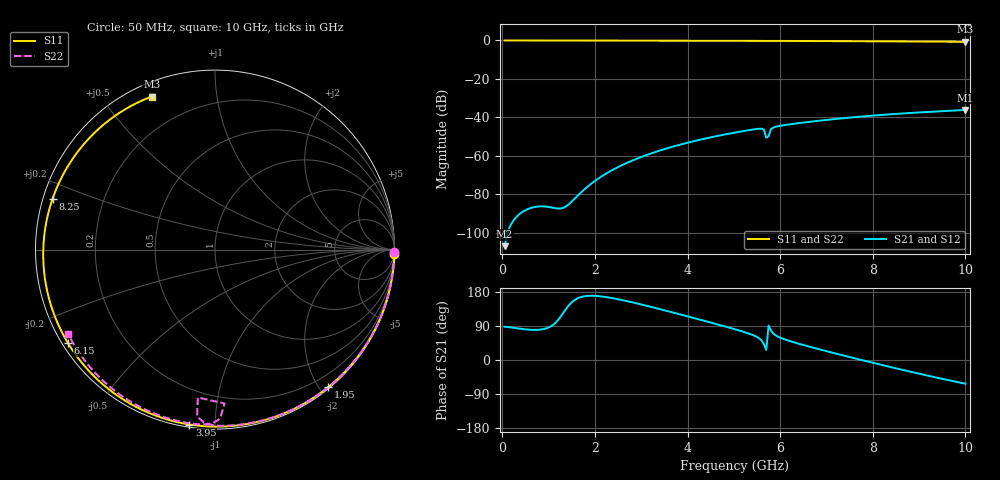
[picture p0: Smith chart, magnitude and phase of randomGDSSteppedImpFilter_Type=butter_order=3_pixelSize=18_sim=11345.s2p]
! freq	dB(S11)	phase(S11)	dB(S12)	phase(S12)
!  dB(S21)	phase(S21)	dB(S22)	phase(S22)
!S-par simulation data
#  GHz  S  DB  R 50
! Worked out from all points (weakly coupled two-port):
!   200 points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, 50 MHz to 10 GHz, reference 50 ohm
!   highest |S21| = -36.17 dB at 10 GHz (marker M1); lowest = -107.1 dB at 50 MHz (marker M2)
!   lowest |S11| = -0.7 dB at 10 GHz (marker M3), VSWR 24.82, Z = 2.91 + j33.4 ohm
!   |S11| at or under -10 dB: nowhere
!   |S22| runs from -1.6 to 0.0 dB; largest |S21 - S12| = 0
!   S11 on the Smith chart (normalised r, x): 50 MHz: 1, -85; 1.95 GHz: 0.02, -2.12; 3.95 GHz: 0.01, -0.86; 6.15 GHz: 0.02, -0.29; 8.25 GHz: 0.03, +0.15; 10 GHz: 0.06, +0.67
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0.05  -0.00 -1.3  -107.08 87.8  -107.08 87.8  -0.00 -0.9
0.8  -0.02 -21.1  -86.40 79.9  -86.40 79.9  -0.02 -13.9
1.65  -0.05 -43.0  -80.28 164.0  -80.28 164.0  -0.04 -28.4
1.75  -0.06 -45.5  -78.00 167.6  -78.00 167.6  -0.04 -30.1
1.95  -0.06 -50.5  -74.01 169.5  -74.01 169.5  -0.04 -33.4
2.6  -0.08 -66.5  -64.74 157.8  -64.74 157.8  -0.06 -44.2
3.4  -0.11 -85.6  -57.32 134.3  -57.32 134.3  -0.08 -57.1
3.95  -0.13 -98.3  -53.54 116.8  -53.54 116.8  -0.09 -65.8
5.05  -0.19 -123.1  -47.84 80.2  -47.84 80.2  -0.13 -82.8
5.6  -0.22 -135.3  -45.95 51.4  -45.95 51.4  -0.32 -93.8
5.65  -0.22 -136.4  -46.44 41.9  -46.44 41.9  -0.58 -96.1
5.7  -0.23 -137.5  -50.68 26.4  -50.68 26.4  -1.63 -96.6
5.75  -0.23 -138.7  -49.86 90.9  -49.86 90.9  -1.32 -86.5
5.8  -0.23 -139.8  -46.22 78.1  -46.22 78.1  -0.52 -88.2
5.85  -0.24 -140.9  -45.35 70.2  -45.35 70.2  -0.32 -90.4
6.15  -0.26 -147.6  -43.86 52.2  -43.86 52.2  -0.19 -96.9
6.7  -0.30 -160.0  -42.17 32.9  -42.17 32.9  -0.21 -105.2
7.5  -0.38 -178.8  -40.17 7.8  -40.17 7.8  -0.26 -116.4
8.25  -0.46 162.6  -38.67 -14.7  -38.67 -14.7  -0.32 -126.6
8.35  -0.47 160.0  -38.49 -17.6  -38.49 -17.6  -0.33 -127.9
9.15  -0.57 138.1  -37.26 -40.3  -37.26 -40.3  -0.41 -138.7
10  -0.70 112.5  -36.17 -62.6  -36.17 -62.6  -0.51 -150.2
